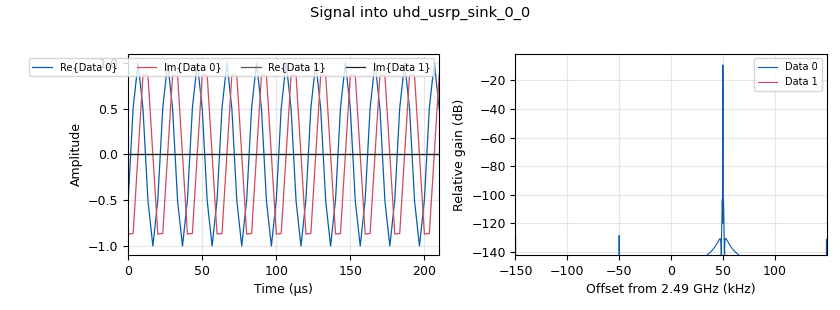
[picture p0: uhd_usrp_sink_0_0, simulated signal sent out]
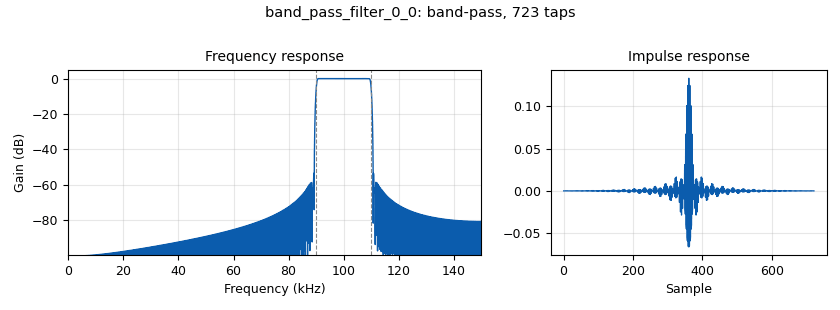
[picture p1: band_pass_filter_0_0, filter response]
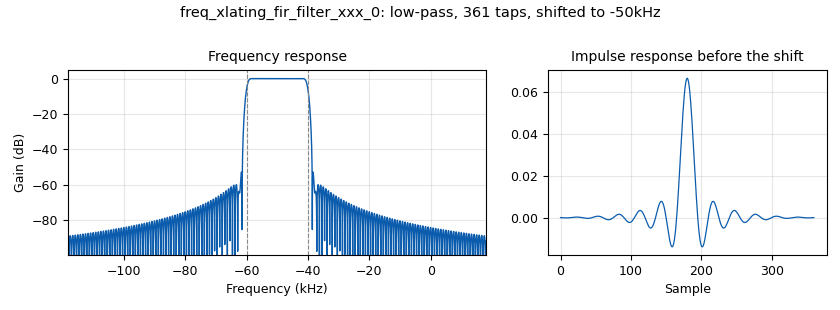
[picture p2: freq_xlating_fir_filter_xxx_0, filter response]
options:
  parameters:
    generate_options: qt_gui
    id: first_try_pa
    output_language: python
    title: Not titled yet
  states: {}

blocks:
- name: R_gain
  id: variable_qtgui_range
  parameters:
    start: '0'
    step: '1'
    stop: '50'
    value: '30'
  states: {}
- name: T_gain
  id: variable_qtgui_range
  parameters:
    start: '0'
    step: '1'
    stop: '30'
    value: '30'
  states: {}
- name: c_light_speed
  id: variable
  parameters:
    value: '299792458.0'
  states: {}
- name: d_x
  id: variable
  parameters:
    value: '0.03'
  states: {}
- name: d_x_2
  id: variable
  parameters:
    value: '0.03'
  states: {}
- name: freq_wave
  id: variable
  parameters:
    value: 2.49e9
  states: {}
- name: freq_wave_2
  id: variable
  parameters:
    value: 100e3
  states: {}
- name: jammer_angle
  id: variable
  parameters:
    value: np.radians(jammer_angle_deg)
  states: {}
- name: jammer_angle_deg
  id: variable_qtgui_range
  parameters:
    start: '-90'
    step: '1'
    stop: '90'
    value: '0'
  states: {}
- name: phase_shift
  id: variable
  parameters:
    value: 2 * np.pi * (d_x / wavelength) * np.sin(jammer_angle)
  states: {}
- name: pilot_offset
  id: variable
  parameters:
    value: 50e3
  states: {}
- name: samp_rate
  id: variable
  parameters:
    value: 300e3
  states: {}
- name: wavelength
  id: variable
  parameters:
    value: 299792458.0 / freq_wave
  states: {}
- name: analog_const_source_x_0
  id: analog_const_source_x
  parameters:
    const: '0'
    type: complex
  states: {}
- name: analog_sig_source_x_1
  id: analog_sig_source_x
  parameters:
    amp: '1'
    freq: pilot_offset
    offset: '0'
    phase: '0'
    samp_rate: samp_rate
    type: complex
    waveform: analog.GR_COS_WAVE
  states: {}
- name: band_pass_filter_0
  id: band_pass_filter
  parameters:
    decim: '1'
    gain: '1'
    high_cutoff_freq: 1.1 * freq_wave
    low_cutoff_freq: 0.9 * freq_wave
    samp_rate: samp_rate
    type: fir_filter_ccf
    width: 0.01 * freq_wave
    win: window.WIN_HAMMING
  states: {state: disabled}
- name: band_pass_filter_0_0
  id: band_pass_filter
  parameters:
    decim: '1'
    gain: '1'
    high_cutoff_freq: 1.1 * freq_wave_2
    low_cutoff_freq: 0.9 * freq_wave_2
    samp_rate: samp_rate
    type: fir_filter_ccf
    width: 0.01 * freq_wave_2
    win: window.WIN_HAMMING
  states: {}
- name: beamod_mvdr_beamformer_0
  id: beamod_mvdr_beamformer
  parameters:
    ant_positions: '[0, d_x, d_x+d_x_2]'
    freq: freq_wave
    snapshots: 512 * 10
    target_angle: '0.0'
  states: {}
- name: beamod_pilot_sync_0
  id: beamod_pilot_sync
  parameters: {}
  states: {}
- name: beamod_two_channel_aligner_0
  id: beamod_two_channel_aligner
  parameters:
    cal_duration_sec: '3.0'
    sample_rate: samp_rate
  states: {}
- name: beamod_two_channel_aligner_0_0
  id: beamod_two_channel_aligner
  parameters:
    cal_duration_sec: '3.0'
    sample_rate: samp_rate
  states: {}
- name: blocks_multiply_const_vxx_1
  id: blocks_multiply_const_vxx
  parameters:
    const: 10**(10/20)
    type: complex
  states: {state: disabled}
- name: blocks_multiply_const_vxx_1_0
  id: blocks_multiply_const_vxx
  parameters:
    const: 10**(10/20)
    type: complex
  states: {}
- name: blocks_null_sink_0
  id: blocks_null_sink
  parameters:
    type: complex
  states: {}
- name: freq_xlating_fir_filter_xxx_0
  id: freq_xlating_fir_filter_xxx
  parameters:
    center_freq: '-pilot_offset'
    decim: '1'
    samp_rate: samp_rate
    taps: firdes.low_pass(1.0, samp_rate, 10e3, 2e3)
    type: ccc
  states: {}
- name: freq_xlating_fir_filter_xxx_0_0
  id: freq_xlating_fir_filter_xxx
  parameters:
    center_freq: '-pilot_offset'
    decim: '1'
    samp_rate: samp_rate
    taps: firdes.low_pass(1.0, samp_rate, 10e3, 2e3)
    type: ccc
  states: {}
- name: import_0
  id: import
  parameters:
    imports: import numpy as np
  states: {}
- name: low_pass_filter_0
  id: low_pass_filter
  parameters:
    cutoff_freq: freq_wave
    decim: '1'
    gain: '1'
    samp_rate: samp_rate
    type: fir_filter_ccf
    width: 2e3
    win: window.WIN_HAMMING
  states: {state: disabled}
- name: low_pass_filter_0_0
  id: low_pass_filter
  parameters:
    cutoff_freq: freq_wave
    decim: '1'
    gain: '1'
    samp_rate: samp_rate
    type: fir_filter_ccf
    width: 2e3
    win: window.WIN_HAMMING
  states: {state: disabled}
- name: qtgui_freq_sink_x_0
  id: qtgui_freq_sink_x
  parameters:
    bw: samp_rate
    fc: '0'
    fftsize: '1024'
    type: complex
  states: {}
- name: uhd_usrp_sink_0_0
  id: uhd_usrp_sink
  parameters:
    ant0: '"TX/RX"'
    ant1: '"TX/RX"'
    center_freq0: freq_wave
    center_freq1: '0'
    dev_addr: '"serial=356E647"'
    gain0: T_gain
    gain1: '0'
    nchan: '2'
    num_mboards: '2'
    samp_rate: samp_rate
    sd_spec0: '"A:A A:B"'
    sync: sync
    type: fc32
  states: {}
- name: uhd_usrp_source_0
  id: uhd_usrp_source
  parameters:
    ant0: '"RX2"'
    ant1: '"RX2"'
    center_freq0: freq_wave
    center_freq1: freq_wave
    dev_addr: '"serial=356E647"'
    gain0: R_gain
    gain1: R_gain
    nchan: '2'
    samp_rate: samp_rate
    sd_spec0: '"A:A A:B"'
    sync: sync
    type: fc32
  states: {}
- name: uhd_usrp_source_0_0
  id: uhd_usrp_source
  parameters:
    ant0: '"RX2"'
    ant1: '"TX/RX"'
    center_freq0: freq_wave
    center_freq1: freq_wave
    dev_addr: '"serial=3557005"'
    gain0: R_gain
    gain1: R_gain
    nchan: '2'
    samp_rate: samp_rate
    sd_spec0: '"A:A A:B"'
    sync: sync
    type: fc32
  states: {}

connections:
- [analog_const_source_x_0, '0', uhd_usrp_sink_0_0, '1']
- [analog_sig_source_x_1, '0', freq_xlating_fir_filter_xxx_0, '0']
- [analog_sig_source_x_1, '0', uhd_usrp_sink_0_0, '0']
- [band_pass_filter_0, '0', blocks_multiply_const_vxx_1, '0']
- [band_pass_filter_0_0, '0', blocks_multiply_const_vxx_1_0, '0']
- [beamod_mvdr_beamformer_0, '0', band_pass_filter_0_0, '0']
- [beamod_mvdr_beamformer_0, '0', low_pass_filter_0, '0']
- [beamod_pilot_sync_0, '0', blocks_null_sink_0, '0']
- [beamod_pilot_sync_0, '1', beamod_mvdr_beamformer_0, '2']
- [beamod_two_channel_aligner_0, '0', beamod_mvdr_beamformer_0, '0']
- [beamod_two_channel_aligner_0, '1', beamod_mvdr_beamformer_0, '1']
- [beamod_two_channel_aligner_0_0, '0', beamod_pilot_sync_0, '0']
- [beamod_two_channel_aligner_0_0, '1', beamod_pilot_sync_0, '1']
- [blocks_multiply_const_vxx_1, '0', qtgui_freq_sink_x_0, '0']
- [blocks_multiply_const_vxx_1_0, '0', qtgui_freq_sink_x_0, '0']
- [freq_xlating_fir_filter_xxx_0, '0', beamod_pilot_sync_0, '2']
- [freq_xlating_fir_filter_xxx_0_0, '0', beamod_pilot_sync_0, '3']
- [low_pass_filter_0, '0', blocks_multiply_const_vxx_1_0, '0']
- [low_pass_filter_0_0, '0', blocks_multiply_const_vxx_1, '0']
- [uhd_usrp_source_0, '0', beamod_two_channel_aligner_0, '0']
- [uhd_usrp_source_0, '1', beamod_two_channel_aligner_0, '1']
- [uhd_usrp_source_0_0, '0', beamod_two_channel_aligner_0_0, '0']
- [uhd_usrp_source_0_0, '0', freq_xlating_fir_filter_xxx_0_0, '0']
- [uhd_usrp_source_0_0, '1', beamod_two_channel_aligner_0_0, '1']

metadata:
  file_format: 1
  grc_version: 3.10.9.2
